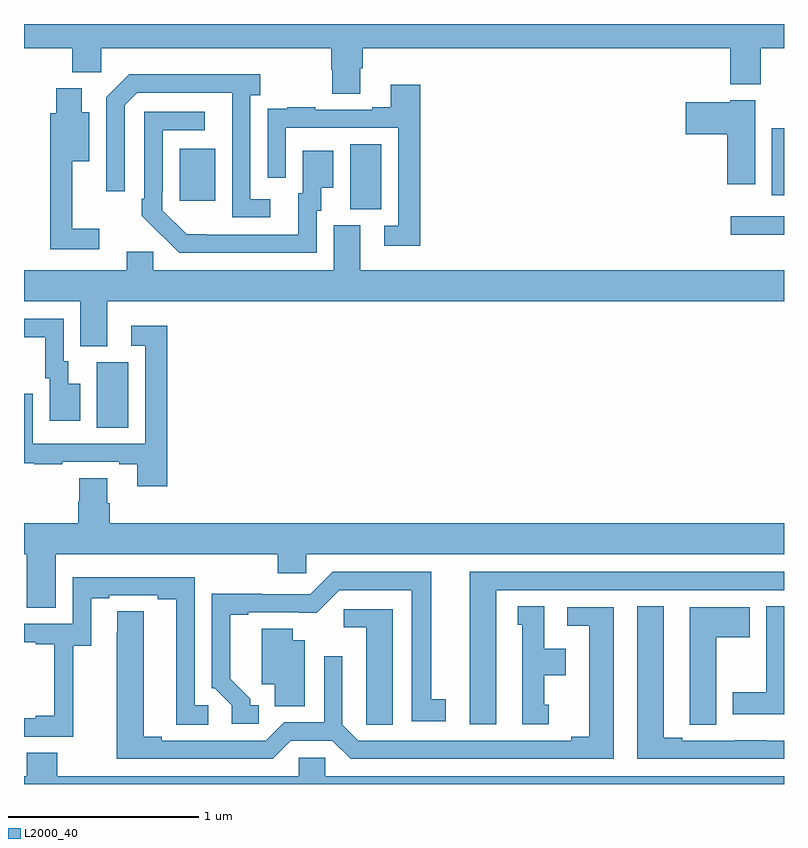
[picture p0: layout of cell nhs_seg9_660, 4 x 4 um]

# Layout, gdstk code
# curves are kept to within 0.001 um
import gdstk
lib = gdstk.Library(unit=1e-6, precision=1e-09)
def R(c, l, rs):  # rectangles x0, y0, x1, y1
    for r in rs: c.add(gdstk.rectangle(r[:2], r[2:], *l))
def P(c, l, *ps):  # polygons
    for p in ps: c.add(gdstk.Polygon(p, *l))
L2000_40 = (2000, 40)

nhs_seg9_660 = lib.new_cell('nhs_seg9_660')
R(nhs_seg9_660, L2000_40, [(143.384,1242.376,143.548,1242.72), (146.721,1243.392,147,1243.488), (144.716,1243.525,144.88,1243.868), (143.819,1243.569,144.007,1243.843), (146.936,1243.598,147,1243.951)])
P(nhs_seg9_660, L2000_40, [(144.769,1244.266),(144.782,1244.266),(144.782,1244.372),(146.717,1244.372),(146.717,1244.183),(146.877,1244.183),(146.877,1244.372),(147,1244.372),(147,1244.5),(143,1244.5),(143,1244.372),(143.255,1244.372),(143.255,1244.246),(143.406,1244.246),(143.406,1244.372),(144.617,1244.372),(144.617,1244.259),(144.622,1244.259),(144.622,1244.134),(144.769,1244.134)],
  [(144.295,1243.578),(144.192,1243.578),(144.192,1244.126),(144.244,1244.126),(144.244,1244.236),(143.554,1244.236),(143.433,1244.115),(143.433,1243.62),(143.529,1243.62),(143.529,1244.073),(143.595,1244.139),(144.095,1244.139),(144.096,1243.482),(144.295,1243.482)],
  [(145.085,1244.179),(144.929,1244.179),(144.929,1244.062),(144.833,1244.062),(144.833,1244.049),(144.533,1244.049),(144.533,1244.062),(144.385,1244.062),(144.385,1244.055),(144.283,1244.055),(144.283,1243.946),(144.282,1243.946),(144.282,1243.692),(144.378,1243.692),(144.378,1243.953),(144.969,1243.953),(144.969,1243.437),(144.897,1243.437),(144.897,1243.332),(145.085,1243.332)],
  [(143.395,1243.423),(143.255,1243.423),(143.255,1243.778),(143.344,1243.778),(143.344,1244.035),(143.305,1244.035),(143.305,1244.161),(143.171,1244.161),(143.171,1244.031),(143.137,1244.031),(143.137,1243.314),(143.395,1243.314)],
  [(146.848,1244.098),(146.718,1244.098),(146.718,1244.089),(146.484,1244.089),(146.484,1243.919),(146.702,1243.919),(146.702,1243.656),(146.848,1243.656)],
  [(144.54,1243.518),(144.565,1243.518),(144.565,1243.637),(144.628,1243.637),(144.628,1243.834),(144.467,1243.834),(144.467,1243.608),(144.443,1243.608),(144.443,1243.392),(143.856,1243.393),(143.727,1243.521),(143.727,1243.621),(143.73,1243.621),(143.73,1243.941),(143.95,1243.941),(143.95,1244.037),(143.634,1244.037),(143.634,1243.579),(143.619,1243.579),(143.619,1243.491),(143.816,1243.296),(144.54,1243.296)],
  [(143.437,1243.04),(147,1243.04),(147,1243.204),(144.769,1243.204),(144.769,1243.44),(144.629,1243.44),(144.629,1243.204),(143.679,1243.204),(143.679,1243.302),(143.54,1243.302),(143.54,1243.204),(143,1243.204),(143,1243.04),(143.297,1243.04),(143.297,1242.805),(143.437,1242.805)],
  [(143.296,1242.607),(143.233,1242.607),(143.233,1242.726),(143.208,1242.726),(143.208,1242.948),(143,1242.948),(143,1242.852),(143.111,1242.852),(143.111,1242.636),(143.135,1242.636),(143.135,1242.411),(143.296,1242.411)],
  [(143.753,1242.913),(143.565,1242.913),(143.565,1242.807),(143.637,1242.807),(143.637,1242.291),(143.046,1242.291),(143.046,1242.553),(143,1242.553),(143,1242.189),(143.053,1242.189),(143.053,1242.183),(143.201,1242.183),(143.201,1242.195),(143.501,1242.195),(143.501,1242.183),(143.597,1242.183),(143.597,1242.066),(143.753,1242.066)],
  [(143.167,1241.708),(144.335,1241.708),(144.335,1241.61),(144.486,1241.61),(144.486,1241.708),(147,1241.708),(147,1241.872),(143.45,1241.872),(143.45,1241.978),(143.437,1241.978),(143.437,1242.11),(143.29,1242.11),(143.29,1241.985),(143.285,1241.985),(143.285,1241.872),(143,1241.872),(143,1241.708),(143.015,1241.708),(143.015,1241.428),(143.167,1241.428)],
  [(144.235,1240.914),(144.19,1240.914),(144.19,1240.949),(144.085,1241.054),(144.085,1241.391),(144.181,1241.391),(144.181,1241.403),(144.542,1241.402),(144.66,1241.52),(145.04,1241.52),(145.04,1240.83),(145.219,1240.83),(145.219,1240.946),(145.144,1240.946),(145.144,1241.616),(144.624,1241.616),(144.507,1241.499),(144.251,1241.499),(144.251,1241.501),(143.988,1241.501),(143.988,1241.004),(144.003,1241.004),(144.093,1240.914),(144.093,1240.818),(144.235,1240.818)],
  [(145.486,1241.52),(147,1241.52),(147,1241.616),(145.346,1241.616),(145.346,1240.815),(145.486,1240.815)],
  [(143.259,1241.227),(143.353,1241.227),(143.353,1241.478),(143.449,1241.478),(143.449,1241.493),(143.705,1241.493),(143.705,1241.473),(143.801,1241.473),(143.801,1240.813),(143.971,1240.813),(143.971,1240.914),(143.898,1240.914),(143.898,1241.589),(143.256,1241.589),(143.256,1241.343),(143,1241.343),(143,1241.247),(143.063,1241.247),(143.063,1241.235),(143.159,1241.235),(143.159,1240.858),(143.063,1240.858),(143.063,1240.845),(143,1240.845),(143,1240.749),(143.259,1240.749)],
  [(147,1241.435),(146.906,1241.435),(146.906,1240.983),(146.729,1240.983),(146.729,1240.866),(147,1240.866)],
  [(147,1240.728),(146.906,1240.728),(146.906,1240.729),(146.74,1240.729),(146.74,1240.728),(146.464,1240.728),(146.464,1240.743),(146.368,1240.743),(146.368,1241.435),(146.228,1241.435),(146.228,1240.632),(147,1240.632)],
  [(145.762,1240.917),(145.738,1240.917),(145.738,1241.072),(145.852,1241.072),(145.852,1241.212),(145.738,1241.212),(145.738,1241.435),(145.598,1241.435),(145.598,1241.337),(145.622,1241.337),(145.622,1240.815),(145.762,1240.815)],
  [(146.644,1241.272),(146.821,1241.272),(146.821,1241.431),(146.504,1241.431),(146.504,1240.921),(146.505,1240.921),(146.505,1240.813),(146.644,1240.813)],
  [(144.405,1240.728),(144.623,1240.728),(144.719,1240.632),(146.104,1240.632),(146.104,1241.43),(145.86,1241.43),(145.86,1241.334),(145.976,1241.334),(145.976,1240.748),(145.88,1240.748),(145.88,1240.728),(144.759,1240.728),(144.675,1240.812),(144.675,1241.173),(144.579,1241.173),(144.579,1240.824),(144.369,1240.824),(144.273,1240.728),(143.725,1240.728),(143.725,1240.748),(143.629,1240.748),(143.629,1241.408),(143.49,1241.408),(143.489,1240.632),(144.309,1240.632)],
  [(144.94,1241.421),(144.684,1241.421),(144.684,1241.324),(144.8,1241.324),(144.8,1240.921),(144.801,1240.921),(144.801,1240.813),(144.94,1240.813)],
  [(144.478,1241.257),(144.415,1241.257),(144.415,1241.318),(144.251,1241.318),(144.251,1241.024),(144.32,1241.024),(144.32,1240.909),(144.478,1240.909)],
  [(147,1240.54),(144.585,1240.54),(144.585,1240.638),(144.447,1240.638),(144.447,1240.54),(143.175,1240.54),(143.175,1240.664),(143.015,1240.664),(143.015,1240.54),(143,1240.54),(143,1240.5),(147,1240.5)])

lib.write_gds('nhs_seg9_660.gds')
